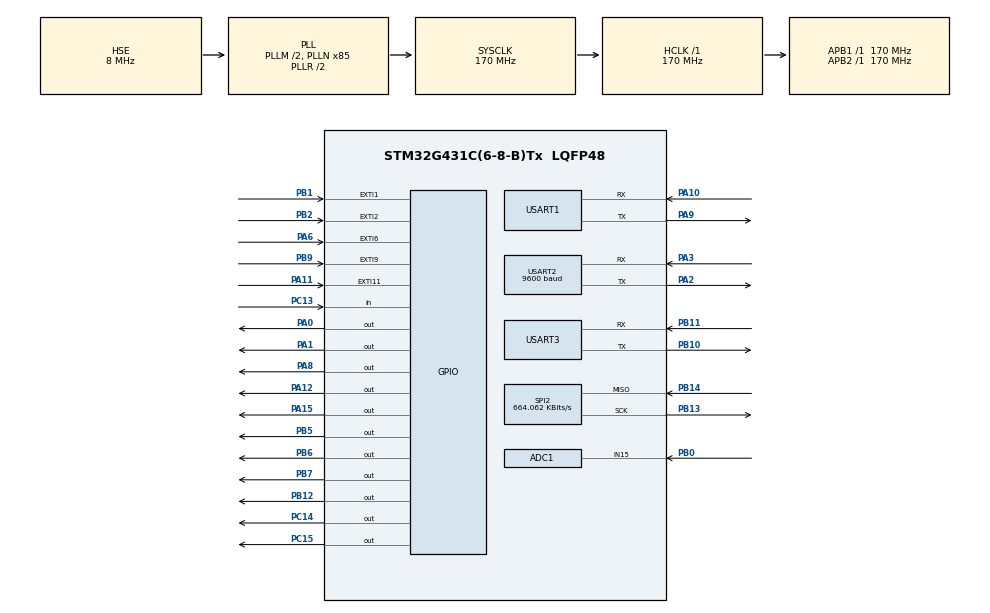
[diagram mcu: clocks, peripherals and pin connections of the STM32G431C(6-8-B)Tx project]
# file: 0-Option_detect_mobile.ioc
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ADC1.Channel-0\#ChannelRegularConversion=ADC_CHANNEL_15
ADC1.NbrOfConversionFlag=1
ADC1.OffsetNumber-0\#ChannelRegularConversion=ADC_OFFSET_NONE
ADC1.Rank-0\#ChannelRegularConversion=1
ADC1.SamplingTime-0\#ChannelRegularConversion=ADC_SAMPLETIME_2CYCLES_5
ADC1.master=1
Mcu.Family=STM32G4
Mcu.Name=STM32G431C(6-8-B)Tx
Mcu.Package=LQFP48
NVIC.EXTI15_10_IRQn=true\:0\:0\:false\:false\:true\:true\:true
NVIC.EXTI1_IRQn=true\:0\:0\:false\:false\:true\:true\:true
NVIC.EXTI2_IRQn=true\:0\:0\:false\:false\:true\:true\:true
NVIC.EXTI9_5_IRQn=true\:0\:0\:false\:false\:true\:true\:true
NVIC.PriorityGroup=NVIC_PRIORITYGROUP_2
NVIC.TIM6_DAC_IRQn=true\:0\:0\:false\:false\:true\:true\:true
NVIC.TIM7_IRQn=true\:0\:0\:false\:false\:true\:true\:true
NVIC.USART1_IRQn=true\:0\:0\:false\:false\:true\:true\:true
NVIC.USART2_IRQn=true\:2\:0\:true\:false\:true\:true\:true
NVIC.USART3_IRQn=true\:0\:0\:false\:false\:true\:true\:true
PA0.GPIO_PuPd=GPIO_PULLUP
PA0.Signal=GPIO_Output
PA1.GPIO_PuPd=GPIO_PULLUP
PA1.Signal=GPIO_Output
PA10.Mode=Asynchronous
PA10.Signal=USART1_RX
PA11.GPIO_ModeDefaultEXTI=GPIO_MODE_IT_FALLING
PA11.GPIO_PuPd=GPIO_PULLUP
PA11.Signal=GPXTI11
PA12.GPIO_PuPd=GPIO_PULLUP
PA12.PinState=GPIO_PIN_SET
PA12.Signal=GPIO_Output
PA13.Mode=Serial_Wire
PA13.Signal=SYS_JTMS-SWDIO
PA14.Mode=Serial_Wire
PA14.Signal=SYS_JTCK-SWCLK
PA15.GPIO_PuPd=GPIO_PULLUP
PA15.PinState=GPIO_PIN_SET
PA15.Signal=GPIO_Output
PA2.Mode=Asynchronous
PA2.Signal=USART2_TX
PA3.Mode=Asynchronous
PA3.Signal=USART2_RX
PA4.Signal=SPI1_NSS
PA5.Signal=SPI1_SCK
PA6.GPIO_ModeDefaultEXTI=GPIO_MODE_IT_FALLING
PA6.GPIO_PuPd=GPIO_PULLUP
PA6.Signal=GPXTI6
PA7.Signal=SPI1_MOSI
PA8.GPIO_PuPd=GPIO_PULLUP
PA8.PinState=GPIO_PIN_RESET
PA8.Signal=GPIO_Output
PA9.Mode=Asynchronous
PA9.Signal=USART1_TX
PB0.Mode=IN15-Single-Ended
PB0.Signal=ADC1_IN15
PB1.GPIO_ModeDefaultEXTI=GPIO_MODE_IT_FALLING
PB1.GPIO_PuPd=GPIO_PULLUP
PB1.Signal=GPXTI1
PB10.Mode=Asynchronous
PB10.Signal=USART3_TX
PB11.Mode=Asynchronous
PB11.Signal=USART3_RX
PB12.GPIO_PuPd=GPIO_PULLUP
PB12.Signal=GPIO_Output
PB13.Mode=RX_Only_Simplex_Unidirect_Master
PB13.Signal=SPI2_SCK
PB14.Mode=RX_Only_Simplex_Unidirect_Master
PB14.Signal=SPI2_MISO
PB2.GPIO_ModeDefaultEXTI=GPIO_MODE_IT_FALLING
PB2.GPIO_PuPd=GPIO_PULLUP
PB2.Signal=GPXTI2
PB5.GPIO_PuPd=GPIO_PULLUP
PB5.Signal=GPIO_Output
PB6.GPIO_PuPd=GPIO_PULLUP
PB6.Signal=GPIO_Output
PB7.GPIO_PuPd=GPIO_PULLUP
PB7.Signal=GPIO_Output
PB9.GPIO_ModeDefaultEXTI=GPIO_MODE_IT_FALLING
PB9.GPIO_PuPd=GPIO_PULLUP
PB9.Signal=GPXTI9
PC13.GPIO_PuPd=GPIO_PULLUP
PC13.Signal=GPIO_Input
PC14-OSC32_IN.GPIO_ModeDefaultOutputPP=GPIO_MODE_OUTPUT_PP
PC14-OSC32_IN.GPIO_PuPd=GPIO_PULLUP
PC14-OSC32_IN.Signal=GPIO_Output
PC15-OSC32_OUT.GPIO_PuPd=GPIO_PULLUP
PC15-OSC32_OUT.Signal=GPIO_Output
PF0-OSC_IN.Mode=HSE-External-Oscillator
PF0-OSC_IN.Signal=RCC_OSC_IN
PF1-OSC_OUT.Mode=HSE-External-Oscillator
PF1-OSC_OUT.Signal=RCC_OSC_OUT
ProjectManager.HeapSize=0x2000
ProjectManager.StackSize=0x1400
ProjectManager.TargetToolchain=MDK-ARM V5
RCC.ADC12Freq_Value=170000000
RCC.AHBFreq_Value=170000000
RCC.APB1Freq_Value=170000000
RCC.APB1TimFreq_Value=170000000
RCC.APB2Freq_Value=170000000
RCC.APB2TimFreq_Value=170000000
RCC.CortexFreq_Value=170000000
RCC.EXTERNAL_CLOCK_VALUE=12288000
RCC.HCLKFreq_Value=170000000
RCC.HSE_VALUE=8000000
RCC.HSI48_VALUE=48000000
RCC.HSI_VALUE=16000000
RCC.LSE_VALUE=32768
RCC.PLLM=RCC_PLLM_DIV2
RCC.PLLN=85
RCC.PLLSourceVirtual=RCC_PLLSOURCE_HSE
RCC.SYSCLKFreq_VALUE=170000000
RCC.SYSCLKSource=RCC_SYSCLKSOURCE_PLLCLK
RCC.USBFreq_Value=170000000
RCC.VCOOutputFreq_Value=340000000
SPI2.BaudRatePrescaler=SPI_BAUDRATEPRESCALER_256
SPI2.CalculateBaudRate=664.062 KBits/s
SPI2.DataSize=SPI_DATASIZE_16BIT
SPI2.Direction=SPI_DIRECTION_2LINES_RXONLY
SPI2.Mode=SPI_MODE_MASTER
SPI2.VirtualType=VM_MASTER
TIM6.AutoReloadPreload=TIM_AUTORELOAD_PRELOAD_ENABLE
TIM6.PeriodNoDither=301
TIM6.Prescaler=171
TIM7.AutoReloadPreload=TIM_AUTORELOAD_PRELOAD_ENABLE
TIM7.PeriodNoDither=53
TIM7.Prescaler=171
USART1.VirtualMode-Asynchronous=VM_ASYNC
USART2.BaudRate=9600
USART2.VirtualMode-Asynchronous=VM_ASYNC
USART3.VirtualMode-Asynchronous=VM_ASYNC
VP_ADC1_TempSens_Input.Mode=IN-TempSens
VP_SYS_VS_DBSignals.Mode=DisableDeadBatterySignals
VP_SYS_V_VREFBUF.Mode=ExternalMode
VP_TIM6_VS_ClockSourceINT.Mode=Enable_Timer
VP_TIM7_VS_ClockSourceINT.Mode=Enable_Timer
board=custom

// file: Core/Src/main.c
/* USER CODE BEGIN Header */
/**
  ******************************************************************************
  * @file           : main.c
  * @brief          : Main program body
  ******************************************************************************
  * @attention
  *
  * <h2><center>&copy; Copyright (c) 2024 STMicroelectronics.
  * All rights reserved.</center></h2>
  *
  * This software component is licensed by ST under BSD 3-Clause license,
  * the "License"; You may not use this file except in compliance with the
  * License. You may obtain a copy of the License at:
  *                        opensource.org/licenses/BSD-3-Clause
  *
  ******************************************************************************
  */
/* USER CODE END Header */
#include "main.h"
#include "adc.h"
#include "spi.h"
#include "tim.h"
#include "usart.h"
#include "gpio.h"

/* USER CODE BEGIN Includes */
#include "i2c.h"
#include "SEGGER_RTT.h"
#include "stdio.h"
#include "string.h"
#include "stdlib.h"
#include "41100.h"
#include "em1365.h"
#include "OD_SimulateUart.h"
#include "motor.h"
#include "rx8025.h"

#define LED_ON  HAL_GPIO_WritePin(GPIOA,GPIO_PIN_15,GPIO_PIN_RESET);
#define LED_OFF HAL_GPIO_WritePin(GPIOA,GPIO_PIN_15,GPIO_PIN_SET);

#define EN_ON  HAL_GPIO_WritePin(GPIOA,GPIO_PIN_8,GPIO_PIN_SET);
#define EN_OFF HAL_GPIO_WritePin(GPIOA,GPIO_PIN_8,GPIO_PIN_RESET);

#define CNV_ON  HAL_GPIO_WritePin(GPIOB,GPIO_PIN_12,GPIO_PIN_SET);
#define CNV_OFF HAL_GPIO_WritePin(GPIOB,GPIO_PIN_12,GPIO_PIN_RESET);

//RS485 命令
/*
电机控制 01
启动检测 02
数据返回 03
扫码 04
试剂id查询 05
读ID卡数据 06
*/
#define CMD_MOTOR 01
#define CMD_DETECT 02
#define CMD_READ_DATA 03
#define CMD_SCAN  04
#define CMD_READ_SAMPLE 05
#define CMD_READ_ID 06
#define CMD_SET_TIME 07

FLASH_OBProgramInitTypeDef    OBInit;
/* USER CODE END Includes */

/* USER CODE BEGIN PTD */

SimulateUart_STR SUart4;
SimulateUart_STR SUart5;
SimulateUart_STR SUart6;

/* USER CODE END PTD */

/* USER CODE BEGIN PV */
#define BUFFER_SIZE 200
extern uint8_t u1rx_flag;
uint8_t ucRxData;
extern uint8_t u2flag;
extern uint8_t u2count;
extern uint8_t u2buf[BUFFER_SIZE];

extern uint8_t u1count;
extern uint8_t u1rx_buf[BUFFER_SIZE];
extern uint8_t u1tx_buf[BUFFER_SIZE];
extern uint8_t u1rx_flag;
extern uint8_t u3flag;
extern uint8_t u3count;
extern uint8_t u3buf[BUFFER_SIZE];
extern uint32_t time_ms, time_s;

extern uint8_t s_flag;
extern uint16_t total_plus;
uint16_t databuf[1000], *p;
uint8_t codebuf[50];
TIME sys_time;

uint8_t sj_locate; //试剂条位置
uint8_t id_locate; //id卡位置
/* USER CODE END PV */

void SystemClock_Config(void);

/* USER CODE BEGIN 0 */
int fputc(int ch, FILE *file)
{
    //HAL_UART_Transmit(&huart1, (uint8_t*)&ch, 1, 1);
    SEGGER_RTT_printf(0, "%c", (uint8_t)ch);
    return ch;
}

void UartSendString(UART_HandleTypeDef huart, uint8_t *p_data)
{
    uint8_t uiSize = strlen((char *)p_data);
    HAL_UART_Transmit(&huart, p_data, uiSize, 100);
}

void UartSendByte(UART_HandleTypeDef huart, uint8_t *p_data, uint32_t uiSize)
{
    HAL_UART_Transmit(&huart, p_data, uiSize, 100);
}
void UartSendByteJjw(UART_HandleTypeDef huart, uint8_t *p_data, uint32_t uiSize)
{
    for (; uiSize; uiSize--)
    {
        while (__HAL_UART_GET_FLAG(&huart, UART_FLAG_TC) == RESET);
        huart.Instance->TDR = *p_data & (uint8_t)0xFFU;
        p_data++;
    }
}
void  Transmit_Data(UART_HandleTypeDef huart, uint8_t *data, uint32_t len)
{
    uint32_t i;
    for (i = 0; i < len; i++)
    {
        while (__HAL_UART_GET_FLAG(&huart, UART_FLAG_TC) == RESET);    //ISR, bit 6 (0x40)
        (&huart)->Instance->TDR = data[i];
    }
}
void  Transmit_Str(UART_HandleTypeDef huart, uint8_t *data)
{
    uint8_t *ch = data;
    while ((*ch) != 0)
    {
        while (__HAL_UART_GET_FLAG(&huart, UART_FLAG_TC) == RESET);    //ISR, bit 6 (0x40)
        (&huart)->Instance->TDR = *ch;
        ch++;
    }
}
void FlashLed()
{
    LED_OFF;
    HAL_Delay(100);
    LED_ON;
    HAL_Delay(100);
    LED_OFF;
}

void detect(uint8_t g)
{
    int i;
    init_41100(g);
    HAL_Delay(10);
    init_41100(g);
    p = databuf;
    //电机前进到试剂条
    motor_sleep(0);//no sleep
    motor_run_back();//回初始位置
    motor_dir(1);
    for (i = 0; i < 4500; i++)//向前
    {
        motor_run(150);
        total_plus++;
    }
    EN_ON;
    HAL_Delay(200);
    HAL_TIM_Base_Start_IT(&htim6);//300us 定时，用于激光头读数
    //慢速 300ms，电机84us，1750个周期
    // 改慢，525ms，电机150us，定时525us
    for (i = 0; i < 1750; i++)//向前
    {
        motor_run(150);
        total_plus++;
    }
    while (1) //wait end
    {
        if (p >= (databuf + 1000))
        {
            HAL_TIM_Base_Stop_IT(&htim6);
            break;
        }
    }
    EN_OFF;
    motor_run_back();//回起点
    motor_sleep(1);//sleep
    printf("data:");
//    for (i = 0; i < 1000; i++)
//    {
//        printf("%d ", databuf[i]);

//        HAL_Delay(5);
//    }
}

uint8_t check_rs485(uint8_t *buf, uint8_t size)
{
    uint8_t sum = 0, i = 0;
    for (i = 0; i < size - 1; i++) sum += buf[i];
    if ((buf[0] == 0x5a) && (buf[1] == 0xa5) && (buf[2] == 0x01) && (buf[size - 1] == sum))
        return 1;//ok
    else
        return 0;
}
uint8_t calc_sum(uint8_t buf[], uint16_t size)
{
    uint16_t i;
    uint8_t sum = 0;
    for (i = 0; i < size; i++) sum += buf[i];
    return sum;
}

void rs485_proc(uint8_t *buf, uint8_t size)
{
    uint8_t ackbuf[10] = {0x5a, 0xa5, 0x01};
    uint8_t sum = 0, temp, res, *p;
    uint16_t len, i;
    switch (buf[3])
    {
    case CMD_MOTOR:
        printf("RS485 motor\n");
        motor_run_arg(buf[5], buf[6], buf[7]);
        ackbuf[3] = CMD_MOTOR | 0x80;
        ackbuf[4] = 0x02;
        ackbuf[5] = total_plus / 256;
        ackbuf[6] = total_plus % 256;
        ackbuf[7] = calc_sum(ackbuf, 7);
        Transmit_Data(huart2, ackbuf, 8);

        break;
    case CMD_DETECT:
        printf("RS485 detect\n");
        detect(buf[5]);
        ackbuf[3] = CMD_DETECT | 0x80;
        ackbuf[4] = 0x01;
        ackbuf[5] = 0x00;
        ackbuf[6] = calc_sum(ackbuf, 6);
        Transmit_Data(huart2, ackbuf, 7);
        break;
    case CMD_READ_DATA:
        printf("RS485 read data\n");
        ackbuf[3] = CMD_READ_DATA | 0x80;
        ackbuf[4] = buf[5];
        ackbuf[5] = buf[6];
        temp = calc_sum(ackbuf, 6);
        len = (buf[5] * 256 + buf[6]) * 2;
        p = (uint8_t *)databuf;
        for (i = 0; i < len; i++)
        {
            temp += *p++;
        }
        Transmit_Data(huart2, ackbuf, 6);
        Transmit_Data(huart2, (uint8_t *)databuf, len);
        Transmit_Data(huart2, &temp, 1);
        break;
    case CMD_READ_ID:
        printf("RS485 read id\n");
        break;
    case CMD_READ_SAMPLE:
        printf("RS485 read sample\n");
        sj_locate = read_PCF8574();
        sj_locate = read_PCF8574();
        id_locate = HAL_GPIO_ReadPin(GPIOB, GPIO_PIN_1);
        printf("SJ %x %x\r\n", sj_locate, id_locate);
        ackbuf[3] = CMD_READ_SAMPLE | 0x80;
        ackbuf[4] = 2;
        ackbuf[5] = sj_locate;
        ackbuf[6] = id_locate;
        ackbuf[7] = calc_sum(ackbuf, 7);
        Transmit_Data(huart2, ackbuf, 8);
        break;
    case CMD_SCAN:
        printf("RS485 scan code\n");
        i = 0;
        code_read(codebuf);
        while (code_read(codebuf) == 0)//==0 fail
        {
            i++;
            if (i == 3) break;
            HAL_Delay(1000);
        }
        if (i != 3)
        {
            printf("code=%s\r\n", codebuf);
            ackbuf[3] = CMD_SCAN | 0x80;
            ackbuf[4] = strlen(codebuf);
            temp = calc_sum(ackbuf, 5);
            for (i = 0; i < ackbuf[4]; i++)
            {
                temp += codebuf[i];
            }
            Transmit_Data(huart2, ackbuf, 5);
            Transmit_Data(huart2, (uint8_t *)codebuf, strlen(codebuf));
            Transmit_Data(huart2, &temp, 1);
            memset(codebuf, 0, 100);
        }
        else
        {
            printf("scan code fail\r\n");
            ackbuf[3] = CMD_SCAN | 0x90;
            ackbuf[4] = calc_sum(ackbuf, 4);
            Transmit_Data(huart2, ackbuf, 5);
        }
        break;
    case CMD_SET_TIME:
        printf("RS485 set time \n");
        //AL_Delay(500);
        //printf("init RTC :%s %d\n", (res=rx8025_init())?"fail":"success",res);

        if (1)
        {
            //printf("rx8025 init success\n");
            sys_time.year = buf[5] + 2000;
            sys_time.month = buf[6];
            sys_time.day = buf[7];
            sys_time.hour = buf[8];
            sys_time.minute = buf[9];
            sys_time.second = buf[10];
            sys_time.week = buf[11];

            //printf("set RTC :%s\r\n", set_rx8025_time_t(sys_time)?"fail":"success");
            i = 0;
            while (1)
            {
                res = set_rx8025_time_t(sys_time);
                printf("set RTC %d:%s\r\n", i, res ? "fail" : "success");
                if (res) //fail
                {
                    i++;
                    if (i == 3) break;
                    //HAL_Delay(100);
                }
                else
                {
                    break;
                }
            }

            ackbuf[3] = CMD_SET_TIME | 0x80;
            ackbuf[4] = calc_sum(ackbuf, 4);
            Transmit_Data(huart2, ackbuf, 5);

            //get_rx8025_time(&sys_time);

        }
        else
        {
            //printf("rx8025 inti fail\n");
            ackbuf[3] = CMD_SET_TIME | 0x90;
            ackbuf[4] = calc_sum(ackbuf, 4);
            Transmit_Data(huart2, ackbuf, 5);
        }
        break;

    }
}
/* USER CODE END 0 */

int main(void)
{
    /* USER CODE BEGIN 1 */
    int i, len, adc;
    char buf[100];
    float value;

    /* USER CODE END 1 */

    /* MCU Configuration--------------------------------------------------------*/

    /* Reset of all peripherals, Initializes the Flash interface and the Systick. */
    HAL_Init();

    /* USER CODE BEGIN Init */
    //设置Boot0为Gpio.但无效
//    HAL_FLASH_Unlock();
//    HAL_FLASH_OB_Unlock();
//    HAL_FLASHEx_OBGetConfig(&OBInit);
//    OBInit.OptionType = OPTIONBYTE_USER;
//    OBInit.USERType   = OB_USER_nBOOT0;
//    OBInit.USERConfig = OB_nBOOT0_SET;
//    HAL_FLASHEx_OBProgram(&OBInit);
//    OBInit.OptionType = OPTIONBYTE_USER;
//    OBInit.USERType   = OB_USER_nSWBOOT0;
//    OBInit.USERConfig = OB_BOOT0_FROM_PIN;//OB_BOOT0_FROM_OB
//    HAL_FLASHEx_OBProgram(&OBInit);
//    HAL_FLASH_OB_Lock();
//    HAL_FLASH_Lock();
    /* USER CODE END Init */

    /* Configure the system clock */
    SystemClock_Config();

    /* USER CODE BEGIN SysInit */

    SEGGER_RTT_Init();
    SEGGER_RTT_printf(0, "start Mobile System\n");
    printf("\r\n********************** Mobile ************************\r\n");
//    for (i = 0; i < 30; i++)
//    {
//        printf("#");
//        HAL_Delay(100);
//    }

    /* USER CODE END SysInit */

    /* Initialize all configured peripherals */
    MX_GPIO_Init();
    MX_ADC1_Init();
    MX_SPI2_Init();
    MX_USART1_UART_Init();
    MX_USART2_UART_Init();
    MX_USART3_UART_Init();
    MX_TIM6_Init();
    MX_TIM7_Init();
    /* USER CODE BEGIN 2 */
    //I2CInit();
    HAL_TIM_Base_Start_IT(&htim7);//52us 定时，用于模拟串口
    SimUart_Init();//模拟串口
    /* USER CODE END 2 */

    /* Infinite loop */
    /* USER CODE BEGIN WHILE */
    printf("\r\ninit end\r\n");
    //HAL_Delay(1000);
    i = 0;
    u1count = 0;
    u2count = 0;
    u3count = 0;
    total_plus = 0;

    while (1)
    {
		while(1){//PB3 LED测试
			HAL_Delay(500);
			HAL_GPIO_WritePin(GPIOB, GPIO_PIN_3, GPIO_PIN_RESET);
			HAL_Delay(500);
			HAL_GPIO_WritePin(GPIOB, GPIO_PIN_3, GPIO_PIN_SET);
		}
        if (1) //RS485协议分析处理
        {
            code_init();
            printf("\r\nScan init end\r\n");
            printf("init RTC :%s\n", rx8025_init() ? "fail" : "success");
            Transmit_Str(huart2, "start\n");
            printf("\r\nRTC init end\r\n");
            motor_sleep(0);//no sleep
            motor_run_back();//回到起点
            motor_sleep(1);//sleep
            while (1)
            {
                if (u2flag)
                {
                    u2flag = 0;
                    len = u2count;
                    u2count = 0;
                    //memset(u2buf,0,100);
                    printf("rs485 cmd:");
                    for (i = 0; i < len; i++) printf("%x ", u2buf[i]);
                    printf("\n");
                    if (check_rs485(u2buf, len)) //check OK
                    {
                        printf("check ok\n");
                        rs485_proc(u2buf, len);
                    }
                }
                //HAL_Delay(100);

                if (s_flag)
                {
                    s_flag = 0;
                    //get_rx8025_time(&sys_time);
                    //printf("%d-%d-%d %d:%d:%d w-%d\r\n", sys_time.year, sys_time.month, sys_time.day, sys_time.hour, sys_time.minute, sys_time.second, sys_time.week);
                    printf("motor locate:%d time:%d\r\n", total_plus, time_ms);
                }
            }
        }
        if (0) // 试剂条检测
        {
            while (1)
            {
                HAL_Delay(1000);
                printf("%x\r\n", read_PCF8574());
            }
        }
        if (0) // RX8025 RTC测试
        {
            if (!rx8025_init())
            {
                printf("rx8025 init success\n");
                sys_time.year = 2024;
                sys_time.month = 8;
                sys_time.day = 19;
                sys_time.hour = 10;
                sys_time.minute = 5;
                sys_time.second = 0;
                sys_time.week = 1;
                set_rx8025_time_t(sys_time);
                get_rx8025_time(&sys_time);
                if (sys_time.month == 165)
                {
                    printf("rx8025 REinit\n");
                    sys_time.year = 2024;
                    sys_time.month = 8;
                    sys_time.day = 19;
                    sys_time.hour = 10;
                    sys_time.minute = 5;
                    sys_time.second = 0;
                    sys_time.week = 1;
                    set_rx8025_time_t(sys_time);
                }
            }
            else
            {
                printf("rx8025 inti fail\n");
            }
            while (1)
            {
                get_rx8025_time(&sys_time);
                printf("%d-%d-%d %d:%d:%d w-%d\r\n", sys_time.year, sys_time.month, sys_time.day, sys_time.hour, sys_time.minute, sys_time.second, sys_time.week);
                HAL_Delay(1000);
            }
        }
        if (1) //使用RTT read，控制SCan code
        {
            while (1)
            {
                buf[0] = 0;
                SEGGER_RTT_Read(0, buf, sizeof(buf));
                if (strlen(buf) == 0)
                {
                    printf(".");
                    HAL_Delay(100);
                    continue;
                }
                else
                {
                    printf("RTT input:%s\r\n", buf);
					if (code_read(buf))
					{
						//for (i=0;i<20;i++) printf("%x ",buf[i]);

						printf("code=%s\r\n", buf);
						UartSendString(huart2, buf);
						memset(buf, 0, 100);
						HAL_Delay(2000);
					}

                }
            }
        }
        if (1) //扫码模块测试
        {
            motor_sleep(0);//no sleep
            motor_run_back();//回到起点
            motor_sleep(1);//sleep
            printf("scan code test\n");
            code_init();
            while (1) //EM1365
            {
                if (code_read(buf))
                {
                    //for (i=0;i<20;i++) printf("%x ",buf[i]);

                    printf("code=%s\r\n", buf);
                    UartSendString(huart2, buf);
                    memset(buf, 0, 100);
                    HAL_Delay(2000);
                }
                HAL_Delay(200);
            }
        }
        if (0)//激光头测试，使用定时器读取
        {
            init_41100(0x10);
            p = databuf;
            //电机前进到试剂条
            motor_sleep(0);//no sleep
            motor_run_back();
            motor_dir(1);
            for (i = 0; i < 4500; i++)    motor_run(100);
            EN_ON;
            HAL_Delay(200);
            HAL_TIM_Base_Start_IT(&htim6);//300us 定时，用于激光头读数
            //慢速 300ms
            for (i = 0; i < 1800; i++)    motor_run(84);
            while (1) //wait end
            {
                if (p >= (databuf + 1000))
                {
                    HAL_TIM_Base_Stop_IT(&htim6);
                    break;
                }
            }
            EN_OFF;
            motor_run_back();
            motor_sleep(1);//sleep
            printf("data:");
            for (i = 0; i < 1000; i++)
            {
                printf("%d ", databuf[i]);

                HAL_Delay(5);
            }
            printf("data read TEST %d\r\n", time_ms);
            //while(1);

            while (1);
        }
        if (0)//激光头测试
        {
            init_41100(0x00);
            p = databuf;
            EN_ON;
            for (i = 0; i < 100; i++) //读100个数据
            {
                CNV_ON;
                for_delay_us(13);
                CNV_OFF;
                for_delay_us(1);
                HAL_SPI_Receive(&hspi2, (uint8_t *)p++, 1, 0xff);
                for_delay_us(300);
            }
            EN_OFF;
            printf("data:");
            for (i = 0; i < 100; i++)
            {
                printf("%d ", databuf[i]);
            }
            printf("data read TEST %d\r\n", time_ms);
            while (1);
        }

        while (0) // EN电源控制测试
        {

            EN_ON;
            HAL_Delay(1000);
            EN_OFF;
            HAL_Delay(1000);
            printf("EN TEST %d\r\n", time_ms);
        }
        if (0) // 移动电机测试
        {
            printf("motor TEST %d\r\n", time_ms);
            //先后退
            motor_sleep(0);//no sleep
            motor_run_back();
            //再前进
            motor_sleep(0);//no sleep
            motor_dir(1);//front
            for (i = 0; i < 000; i++)
            {
                motor_run(1000);
            }
            motor_sleep(1);// sleep
            while (0)
            {
                HAL_Delay(1000);
                printf("EN TEST %d\r\n", time_ms);
            }
        }
        if (1) //AD 转换 AD1 in15
        {
            write_mcp4017(0x0);//数值越小，放大倍数越小。 未设置默认最大
            printf("ADC test\r\n");
            while (1)
            {
                HAL_ADC_Start(&hadc1);
                adc = HAL_ADC_GetValue(&hadc1);
                value = adc * 3.3 / 4096;
                printf("adc=%x V=%f\r\n", adc, value);
                HAL_Delay(1000);
            }
        }
        while (0)
        {
            HAL_Delay(200);
            FlashLed();
            printf("%d\n", i++);
        }

        if (1) //串口2 RX 空闲模式 测试
        {
            UartSendString(huart2, "Uart2 send\n");
            while (1)
            {
                if (u2flag)
                {
                    u2flag = 0;
                    printf("Uart2 rec:");
                    for (i = 0; i < u2count; i++) printf("%x ", u2buf[i]);
                    u2count = 0;
                    putchar('\n');
                    motor_sleep(0);//no sleep
                    motor_dir(1);//front
                    for (i = 0; i < 100; i++)
                    {
                        motor_run(1000);
                    }
                    motor_sleep(1);// sleep
                }
                FlashLed();
                printf("%d\r\n", time_ms);

            }
        }
        if (0) //串口1 RX 空闲模式 测试
        {
            UartSendString(huart1, "Uart1 send\n");
            while (1)
            {
                if (u1rx_flag)
                {
                    u1rx_flag = 0;
                    printf("Uart1 rec:");
                    for (i = 0; i < u1count; i++) printf("%x ", u1rx_buf[i]);
                    u1count = 0;
                    putchar('\n');
                }
                FlashLed();
                printf("%d\r\n", time_ms);

            }
        }
        if (0) //串口3 RX 空闲模式 测试
        {
            UartSendString(huart3, "Uart3 send\n");
            while (1)
            {
                if (u3flag)
                {
                    u3flag = 0;
                    printf("Uart3 rec:");
                    for (i = 0; i < u3count; i++) printf("%x ", u3buf[i]);
                    u3count = 0;
                    putchar('\n');
                }
                FlashLed();
                printf("%d\r\n", time_ms);

            }
        }
        if (0) //串口1 RX DMA 空闲模式 测试 失败，放弃
        {
            HAL_UART_Transmit_DMA(&huart1, "Uart1 dma send\n", 20);
            //UartSendString(huart1, "Uart1 send\n");
            while (1)
            {
                if (u1rx_flag)
                {
                    u1rx_flag = 0;
                    printf("Uart1 rec:");
                    for (i = 0; i < u1count; i++) printf("%x ", u1rx_buf[i]);
                    u1count = 0;
                    putchar('\n');
                }
                FlashLed();
                printf("%d\n", i++);
            }
        }
        if (1) //测试模拟串口
        {
            OD_SimulateUartWriteData(&SUart4, "sim uart4\n", 10);
            OD_SimulateUartWriteData(&SUart5, "sim uart5\n", 10);
            OD_SimulateUartWriteData(&SUart6, "sim uart6\n", 10);
            while (1)
            {
                len = OD_SimulateUartRead(&SUart4, buf);
                if (len)
                {
                    OD_SimulateUartWriteData(&SUart4, buf, len);
                    HAL_Delay(100);
                    printf("sim uart4 rec:");
                    for (i = 0; i < len; i++) printf("%x ", buf[i]);
                }
                len = OD_SimulateUartRead(&SUart5, buf);
                if (len)
                {
                    OD_SimulateUartWriteData(&SUart5, buf, len);
                    HAL_Delay(100);
                    printf("sim uart5 rec:");
                    for (i = 0; i < len; i++) printf("%x ", buf[i]);
                }
                FlashLed();
                printf("%d\r\n", time_ms);
            }
        }
        if (1) //电机测试
        {

        }
        if (1) //EM1365扫码测试
        {
            code_read(buf);
            printf("Scan code:%s\n", buf);
        }
        /* USER CODE END WHILE */

    }
}

void SystemClock_Config(void)
{
    RCC_OscInitTypeDef RCC_OscInitStruct = {0};
    RCC_ClkInitTypeDef RCC_ClkInitStruct = {0};
    RCC_PeriphCLKInitTypeDef PeriphClkInit = {0};

    /** Configure the main internal regulator output voltage
    */
    HAL_PWREx_ControlVoltageScaling(PWR_REGULATOR_VOLTAGE_SCALE1_BOOST);
    /** Initializes the RCC Oscillators according to the specified parameters
    * in the RCC_OscInitTypeDef structure.
    */
    RCC_OscInitStruct.OscillatorType = RCC_OSCILLATORTYPE_HSE;
    RCC_OscInitStruct.HSEState = RCC_HSE_ON;
    RCC_OscInitStruct.PLL.PLLState = RCC_PLL_ON;
    RCC_OscInitStruct.PLL.PLLSource = RCC_PLLSOURCE_HSE;
    RCC_OscInitStruct.PLL.PLLM = RCC_PLLM_DIV2;
    RCC_OscInitStruct.PLL.PLLN = 85;
    RCC_OscInitStruct.PLL.PLLP = RCC_PLLP_DIV2;
    RCC_OscInitStruct.PLL.PLLQ = RCC_PLLQ_DIV2;
    RCC_OscInitStruct.PLL.PLLR = RCC_PLLR_DIV2;
    if (HAL_RCC_OscConfig(&RCC_OscInitStruct) != HAL_OK)
    {
        Error_Handler();
    }
    /** Initializes the CPU, AHB and APB buses clocks
    */
    RCC_ClkInitStruct.ClockType = RCC_CLOCKTYPE_HCLK | RCC_CLOCKTYPE_SYSCLK
                                  | RCC_CLOCKTYPE_PCLK1 | RCC_CLOCKTYPE_PCLK2;
    RCC_ClkInitStruct.SYSCLKSource = RCC_SYSCLKSOURCE_PLLCLK;
    RCC_ClkInitStruct.AHBCLKDivider = RCC_SYSCLK_DIV1;
    RCC_ClkInitStruct.APB1CLKDivider = RCC_HCLK_DIV1;
    RCC_ClkInitStruct.APB2CLKDivider = RCC_HCLK_DIV1;

    if (HAL_RCC_ClockConfig(&RCC_ClkInitStruct, FLASH_LATENCY_4) != HAL_OK)
    {
        Error_Handler();
    }
    /** Initializes the peripherals clocks
    */
    PeriphClkInit.PeriphClockSelection = RCC_PERIPHCLK_USART1 | RCC_PERIPHCLK_USART2
                                         | RCC_PERIPHCLK_USART3 | RCC_PERIPHCLK_ADC12;
    PeriphClkInit.Usart1ClockSelection = RCC_USART1CLKSOURCE_PCLK2;
    PeriphClkInit.Usart2ClockSelection = RCC_USART2CLKSOURCE_PCLK1;
    PeriphClkInit.Usart3ClockSelection = RCC_USART3CLKSOURCE_PCLK1;
    PeriphClkInit.Adc12ClockSelection = RCC_ADC12CLKSOURCE_SYSCLK;
    if (HAL_RCCEx_PeriphCLKConfig(&PeriphClkInit) != HAL_OK)
    {
        Error_Handler();
    }
}

/* USER CODE BEGIN 4 */

void HAL_GPIO_EXTI_Callback(uint16_t GPIO_Pin)
{

    if (GPIO_Pin == SUart4.Rx_GPIO_Pin) //触发中断
    {
        if (HAL_GPIO_ReadPin(SUart4.Rx_GPIOx, SUart4.Rx_GPIO_Pin) == GPIO_PIN_RESET)
        {
            OD_SimulateUartDetectStart(&SUart4);
        }
    }
    if (GPIO_Pin == SUart5.Rx_GPIO_Pin) //触发中断
    {
        if (HAL_GPIO_ReadPin(SUart5.Rx_GPIOx, SUart5.Rx_GPIO_Pin) == GPIO_PIN_RESET)
        {
            OD_SimulateUartDetectStart(&SUart5);
        }
    }
    if (GPIO_Pin == SUart6.Rx_GPIO_Pin) //触发中断
    {
        if (HAL_GPIO_ReadPin(SUart6.Rx_GPIOx, SUart6.Rx_GPIO_Pin) == GPIO_PIN_RESET)
        {
            OD_SimulateUartDetectStart(&SUart6);
        }
    }
}

void HAL_TIM_PeriodElapsedCallback(TIM_HandleTypeDef *htim)
{
    static int tim7_count = 0;
    if (htim->Instance == htim7.Instance)//模拟串口
    {
        OD_SimulateUartMain(&SUart4);
        OD_SimulateUartMain(&SUart5);
        OD_SimulateUartMain(&SUart6);
    }
    if (htim->Instance == htim6.Instance)
    {
        CNV_ON;
        for_delay_us(13);
        CNV_OFF;
        for_delay_us(1);
        HAL_SPI_Receive(&hspi2, (uint8_t *)p++, 1, 0xff);
        if (p >= (databuf + 1000))
        {
            HAL_TIM_Base_Stop_IT(&htim6);
        }
    }
}
/* USER CODE END 4 */

void Error_Handler(void)
{
    __disable_irq();
    while (1)
    {
    }
}

/************************ (C) COPYRIGHT STMicroelectronics *****END OF FILE****/
